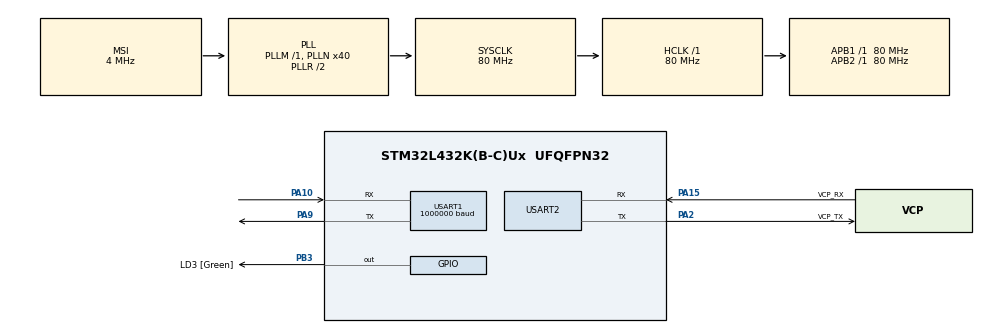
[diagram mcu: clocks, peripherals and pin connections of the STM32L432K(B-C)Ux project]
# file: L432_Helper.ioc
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Dma.Request0=USART1_RX
Dma.Request1=USART1_TX
Dma.USART1_RX.0.Direction=DMA_PERIPH_TO_MEMORY
Dma.USART1_RX.0.Instance=DMA1_Channel5
Dma.USART1_RX.0.MemDataAlignment=DMA_MDATAALIGN_BYTE
Dma.USART1_RX.0.MemInc=DMA_MINC_ENABLE
Dma.USART1_RX.0.Mode=DMA_NORMAL
Dma.USART1_RX.0.PeriphDataAlignment=DMA_PDATAALIGN_BYTE
Dma.USART1_RX.0.PeriphInc=DMA_PINC_DISABLE
Dma.USART1_RX.0.Priority=DMA_PRIORITY_LOW
Dma.USART1_TX.1.Direction=DMA_MEMORY_TO_PERIPH
Dma.USART1_TX.1.Instance=DMA1_Channel4
Dma.USART1_TX.1.MemDataAlignment=DMA_MDATAALIGN_BYTE
Dma.USART1_TX.1.MemInc=DMA_MINC_ENABLE
Dma.USART1_TX.1.Mode=DMA_NORMAL
Dma.USART1_TX.1.PeriphDataAlignment=DMA_PDATAALIGN_BYTE
Dma.USART1_TX.1.PeriphInc=DMA_PINC_DISABLE
Dma.USART1_TX.1.Priority=DMA_PRIORITY_LOW
FREERTOS.INCLUDE_vTaskDelayUntil=1
FREERTOS.MEMORY_ALLOCATION=2
FREERTOS.Queues01=toBeSentQ,1,Data_t,0,Static,toBeSentQBuffer,toBeSentQControlBlock
FREERTOS.Tasks01=defaultTask,0,128,StartDefaultTask,Default,NULL,Dynamic,NULL,NULL;RX,3,512,StartRX,As external,NULL,Static,RXBuffer,RXControlBlock;TX,2,512,StartTX,As external,NULL,Static,TXBuffer,TXControlBlock
Mcu.Family=STM32L4
Mcu.Name=STM32L432K(B-C)Ux
Mcu.Package=UFQFPN32
NVIC.DMA1_Channel4_IRQn=true\:5\:0\:false\:false\:true\:true\:false
NVIC.DMA1_Channel5_IRQn=true\:5\:0\:false\:false\:true\:true\:false
NVIC.PriorityGroup=NVIC_PRIORITYGROUP_4
NVIC.TIM1_UP_TIM16_IRQn=true\:0\:0\:false\:false\:true\:false\:false
NVIC.TimeBase=TIM1_UP_TIM16_IRQn
NVIC.TimeBaseIP=TIM1
NVIC.USART1_IRQn=true\:5\:0\:false\:false\:true\:true\:true
PA0.GPIO_Label=MCO [High speed clock in]
PA0.Mode=HSE-External-Clock-Source-for-LittleOrca
PA0.Signal=RCC_CK_IN
PA10.Mode=Asynchronous
PA10.Signal=USART1_RX
PA13\ (JTMS-SWDIO).GPIO_Label=SWDIO
PA13\ (JTMS-SWDIO).Mode=Serial_Wire
PA13\ (JTMS-SWDIO).Signal=SYS_JTMS-SWDIO
PA14\ (JTCK-SWCLK).GPIO_Label=SWCLK
PA14\ (JTCK-SWCLK).Mode=Serial_Wire
PA14\ (JTCK-SWCLK).Signal=SYS_JTCK-SWCLK
PA15\ (JTDI).GPIO_Label=VCP_RX
PA15\ (JTDI).Mode=Asynchronous
PA15\ (JTDI).Signal=USART2_RX
PA2.GPIO_Label=VCP_TX
PA2.Mode=Asynchronous
PA2.Signal=USART2_TX
PA9.Mode=Asynchronous
PA9.Signal=USART1_TX
PB3\ (JTDO-TRACESWO).GPIO_Label=LD3 [Green]
PB3\ (JTDO-TRACESWO).Signal=GPIO_Output
PC14-OSC32_IN\ (PC14).Mode=LSE-External-Oscillator
PC14-OSC32_IN\ (PC14).Signal=RCC_OSC32_IN
PC15-OSC32_OUT\ (PC15).Mode=LSE-External-Oscillator
PC15-OSC32_OUT\ (PC15).Signal=RCC_OSC32_OUT
ProjectManager.HeapSize=0x200
ProjectManager.StackSize=0x400
ProjectManager.TargetToolchain=SW4STM32
RCC.AHBFreq_Value=80000000
RCC.APB1Freq_Value=80000000
RCC.APB1TimFreq_Value=80000000
RCC.APB2Freq_Value=80000000
RCC.APB2TimFreq_Value=80000000
RCC.CortexFreq_Value=80000000
RCC.HCLKFreq_Value=80000000
RCC.HSE_VALUE=8000000
RCC.HSI16_VALUE=16000000
RCC.HSI48_VALUE=48000000
RCC.HSI_VALUE=16000000
RCC.MSI_VALUE=4000000
RCC.PLLMUL=RCC_PLLMUL_4
RCC.PLLN=40
RCC.SYSCLKFreq_VALUE=80000000
RCC.SYSCLKSource=RCC_SYSCLKSOURCE_PLLCLK
RCC.VCOOutputFreq_Value=160000000
USART1.BaudRate=1000000
USART1.DMADisableonRxErrorParam=ADVFEATURE_DMA_DISABLEONRXERROR
USART1.OverrunDisableParam=ADVFEATURE_OVERRUN_DISABLE
USART1.VirtualMode-Asynchronous=VM_ASYNC
USART2.VirtualMode-Asynchronous=VM_ASYNC
VP_FREERTOS_VS_ENABLE.Mode=Enabled
VP_SYS_VS_tim1.Mode=TIM1
board=NUCLEO-L432KC

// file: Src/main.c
/**
  ******************************************************************************
  * @file           : main.c
  * @brief          : Main program body
  ******************************************************************************
  * This notice applies to any and all portions of this file
  * that are not between comment pairs USER CODE BEGIN and
  * USER CODE END. Other portions of this file, whether
  * inserted by the user or by software development tools
  * are owned by their respective copyright owners.
  *
  * Copyright (c) 2018 STMicroelectronics International N.V.
  * All rights reserved.
  *
  * Redistribution and use in source and binary forms, with or without
  * modification, are permitted, provided that the following conditions are met:
  *
  * 1. Redistribution of source code must retain the above copyright notice,
  *    this list of conditions and the following disclaimer.
  * 2. Redistributions in binary form must reproduce the above copyright notice,
  *    this list of conditions and the following disclaimer in the documentation
  *    and/or other materials provided with the distribution.
  * 3. Neither the name of STMicroelectronics nor the names of other
  *    contributors to this software may be used to endorse or promote products
  *    derived from this software without specific written permission.
  * 4. This software, including modifications and/or derivative works of this
  *    software, must execute solely and exclusively on microcontroller or
  *    microprocessor devices manufactured by or for STMicroelectronics.
  * 5. Redistribution and use of this software other than as permitted under
  *    this license is void and will automatically terminate your rights under
  *    this license.
  *
  * THIS SOFTWARE IS PROVIDED BY STMICROELECTRONICS AND CONTRIBUTORS "AS IS"
  * AND ANY EXPRESS, IMPLIED OR STATUTORY WARRANTIES, INCLUDING, BUT NOT
  * LIMITED TO, THE IMPLIED WARRANTIES OF MERCHANTABILITY, FITNESS FOR A
  * PARTICULAR PURPOSE AND NON-INFRINGEMENT OF THIRD PARTY INTELLECTUAL PROPERTY
  * RIGHTS ARE DISCLAIMED TO THE FULLEST EXTENT PERMITTED BY LAW. IN NO EVENT
  * SHALL STMICROELECTRONICS OR CONTRIBUTORS BE LIABLE FOR ANY DIRECT, INDIRECT,
  * INCIDENTAL, SPECIAL, EXEMPLARY, OR CONSEQUENTIAL DAMAGES (INCLUDING, BUT NOT
  * LIMITED TO, PROCUREMENT OF SUBSTITUTE GOODS OR SERVICES; LOSS OF USE, DATA,
  * OR PROFITS; OR BUSINESS INTERRUPTION) HOWEVER CAUSED AND ON ANY THEORY OF
  * LIABILITY, WHETHER IN CONTRACT, STRICT LIABILITY, OR TORT (INCLUDING
  * NEGLIGENCE OR OTHERWISE) ARISING IN ANY WAY OUT OF THE USE OF THIS SOFTWARE,
  * EVEN IF ADVISED OF THE POSSIBILITY OF SUCH DAMAGE.
  *
  ******************************************************************************
  */
#include "main.h"
#include "stm32l4xx_hal.h"
#include "cmsis_os.h"
#include "dma.h"
#include "usart.h"
#include "gpio.h"

/* USER CODE BEGIN PV */
/* Private variables ---------------------------------------------------------*/

/* USER CODE END PV */

void SystemClock_Config(void);
void MX_FREERTOS_Init(void);

/* USER CODE BEGIN PFP */
/* Private function prototypes -----------------------------------------------*/

/* USER CODE END PFP */

int main(void)
{

  /* MCU Configuration----------------------------------------------------------*/

  /* Reset of all peripherals, Initializes the Flash interface and the Systick. */
  HAL_Init();

  /* Configure the system clock */
  SystemClock_Config();

  /* Initialize all configured peripherals */
  MX_GPIO_Init();
  MX_DMA_Init();
  MX_USART2_UART_Init();
  MX_USART1_UART_Init();

  /* Call init function for freertos objects (in freertos.c) */
  MX_FREERTOS_Init();

  /* Start scheduler */
  osKernelStart();

  /* We should never get here as control is now taken by the scheduler */

  /* Infinite loop */
  while (1)
  {

  }

}

void SystemClock_Config(void)
{

  RCC_OscInitTypeDef RCC_OscInitStruct;
  RCC_ClkInitTypeDef RCC_ClkInitStruct;
  RCC_PeriphCLKInitTypeDef PeriphClkInit;

    /**Configure LSE Drive Capability
    */
  HAL_PWR_EnableBkUpAccess();

  __HAL_RCC_LSEDRIVE_CONFIG(RCC_LSEDRIVE_LOW);

    /**Initializes the CPU, AHB and APB busses clocks
    */
  RCC_OscInitStruct.OscillatorType = RCC_OSCILLATORTYPE_LSE|RCC_OSCILLATORTYPE_MSI;
  RCC_OscInitStruct.LSEState = RCC_LSE_ON;
  RCC_OscInitStruct.MSIState = RCC_MSI_ON;
  RCC_OscInitStruct.MSICalibrationValue = 0;
  RCC_OscInitStruct.MSIClockRange = RCC_MSIRANGE_6;
  RCC_OscInitStruct.PLL.PLLState = RCC_PLL_ON;
  RCC_OscInitStruct.PLL.PLLSource = RCC_PLLSOURCE_MSI;
  RCC_OscInitStruct.PLL.PLLM = 1;
  RCC_OscInitStruct.PLL.PLLN = 40;
  RCC_OscInitStruct.PLL.PLLP = RCC_PLLP_DIV7;
  RCC_OscInitStruct.PLL.PLLQ = RCC_PLLQ_DIV2;
  RCC_OscInitStruct.PLL.PLLR = RCC_PLLR_DIV2;
  if (HAL_RCC_OscConfig(&RCC_OscInitStruct) != HAL_OK)
  {
    _Error_Handler(__FILE__, __LINE__);
  }

    /**Initializes the CPU, AHB and APB busses clocks
    */
  RCC_ClkInitStruct.ClockType = RCC_CLOCKTYPE_HCLK|RCC_CLOCKTYPE_SYSCLK
                              |RCC_CLOCKTYPE_PCLK1|RCC_CLOCKTYPE_PCLK2;
  RCC_ClkInitStruct.SYSCLKSource = RCC_SYSCLKSOURCE_PLLCLK;
  RCC_ClkInitStruct.AHBCLKDivider = RCC_SYSCLK_DIV1;
  RCC_ClkInitStruct.APB1CLKDivider = RCC_HCLK_DIV1;
  RCC_ClkInitStruct.APB2CLKDivider = RCC_HCLK_DIV1;

  if (HAL_RCC_ClockConfig(&RCC_ClkInitStruct, FLASH_LATENCY_4) != HAL_OK)
  {
    _Error_Handler(__FILE__, __LINE__);
  }

  PeriphClkInit.PeriphClockSelection = RCC_PERIPHCLK_USART1|RCC_PERIPHCLK_USART2;
  PeriphClkInit.Usart1ClockSelection = RCC_USART1CLKSOURCE_PCLK2;
  PeriphClkInit.Usart2ClockSelection = RCC_USART2CLKSOURCE_PCLK1;
  if (HAL_RCCEx_PeriphCLKConfig(&PeriphClkInit) != HAL_OK)
  {
    _Error_Handler(__FILE__, __LINE__);
  }

    /**Configure the main internal regulator output voltage
    */
  if (HAL_PWREx_ControlVoltageScaling(PWR_REGULATOR_VOLTAGE_SCALE1) != HAL_OK)
  {
    _Error_Handler(__FILE__, __LINE__);
  }

    /**Configure the Systick interrupt time
    */
  HAL_SYSTICK_Config(HAL_RCC_GetHCLKFreq()/1000);

    /**Configure the Systick
    */
  HAL_SYSTICK_CLKSourceConfig(SYSTICK_CLKSOURCE_HCLK);

    /**Enable MSI Auto calibration
    */
  HAL_RCCEx_EnableMSIPLLMode();

  /* SysTick_IRQn interrupt configuration */
  HAL_NVIC_SetPriority(SysTick_IRQn, 15, 0);
}

void HAL_TIM_PeriodElapsedCallback(TIM_HandleTypeDef *htim)
{
  if (htim->Instance == TIM1) {
    HAL_IncTick();
  }
}

void _Error_Handler(char *file, int line)
{
  while(1)
  {
  }
}

/************************ (C) COPYRIGHT STMicroelectronics *****END OF FILE****/

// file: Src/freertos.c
/**
  ******************************************************************************
  * File Name          : freertos.c
  * Description        : Code for freertos applications
  ******************************************************************************
  * This notice applies to any and all portions of this file
  * that are not between comment pairs USER CODE BEGIN and
  * USER CODE END. Other portions of this file, whether
  * inserted by the user or by software development tools
  * are owned by their respective copyright owners.
  *
  * Copyright (c) 2018 STMicroelectronics International N.V.
  * All rights reserved.
  *
  * Redistribution and use in source and binary forms, with or without
  * modification, are permitted, provided that the following conditions are met:
  *
  * 1. Redistribution of source code must retain the above copyright notice,
  *    this list of conditions and the following disclaimer.
  * 2. Redistributions in binary form must reproduce the above copyright notice,
  *    this list of conditions and the following disclaimer in the documentation
  *    and/or other materials provided with the distribution.
  * 3. Neither the name of STMicroelectronics nor the names of other
  *    contributors to this software may be used to endorse or promote products
  *    derived from this software without specific written permission.
  * 4. This software, including modifications and/or derivative works of this
  *    software, must execute solely and exclusively on microcontroller or
  *    microprocessor devices manufactured by or for STMicroelectronics.
  * 5. Redistribution and use of this software other than as permitted under
  *    this license is void and will automatically terminate your rights under
  *    this license.
  *
  * THIS SOFTWARE IS PROVIDED BY STMICROELECTRONICS AND CONTRIBUTORS "AS IS"
  * AND ANY EXPRESS, IMPLIED OR STATUTORY WARRANTIES, INCLUDING, BUT NOT
  * LIMITED TO, THE IMPLIED WARRANTIES OF MERCHANTABILITY, FITNESS FOR A
  * PARTICULAR PURPOSE AND NON-INFRINGEMENT OF THIRD PARTY INTELLECTUAL PROPERTY
  * RIGHTS ARE DISCLAIMED TO THE FULLEST EXTENT PERMITTED BY LAW. IN NO EVENT
  * SHALL STMICROELECTRONICS OR CONTRIBUTORS BE LIABLE FOR ANY DIRECT, INDIRECT,
  * INCIDENTAL, SPECIAL, EXEMPLARY, OR CONSEQUENTIAL DAMAGES (INCLUDING, BUT NOT
  * LIMITED TO, PROCUREMENT OF SUBSTITUTE GOODS OR SERVICES; LOSS OF USE, DATA,
  * OR PROFITS; OR BUSINESS INTERRUPTION) HOWEVER CAUSED AND ON ANY THEORY OF
  * LIABILITY, WHETHER IN CONTRACT, STRICT LIABILITY, OR TORT (INCLUDING
  * NEGLIGENCE OR OTHERWISE) ARISING IN ANY WAY OUT OF THE USE OF THIS SOFTWARE,
  * EVEN IF ADVISED OF THE POSSIBILITY OF SUCH DAMAGE.
  *
  ******************************************************************************
  */

#include "FreeRTOS.h"
#include "task.h"
#include "cmsis_os.h"

/* USER CODE BEGIN Includes */
#include <stdbool.h>
#include "usart.h"

#include "types.h"
#include "lfsr.h"
#include "helpers.h"
#include "tx_helpers.h"
#include "rx_helpers.h"
/* USER CODE END Includes */

osThreadId defaultTaskHandle;
osThreadId RXHandle;
uint32_t RXBuffer[ 512 ];
osStaticThreadDef_t RXControlBlock;
osThreadId TXHandle;
uint32_t TXBuffer[ 512 ];
osStaticThreadDef_t TXControlBlock;
osMessageQId toBeSentQHandle;
uint8_t toBeSentQBuffer[ 1 * sizeof( Data_t ) ];
osStaticMessageQDef_t toBeSentQControlBlock;

void StartDefaultTask(void const * argument);
extern void StartRX(void const * argument);
extern void StartTX(void const * argument);

void MX_FREERTOS_Init(void); /* (MISRA C 2004 rule 8.1) */

/* GetIdleTaskMemory prototype (linked to static allocation support) */
void vApplicationGetIdleTaskMemory( StaticTask_t **ppxIdleTaskTCBBuffer, StackType_t **ppxIdleTaskStackBuffer, uint32_t *pulIdleTaskStackSize );

/* Hook prototypes */

/* USER CODE BEGIN GET_IDLE_TASK_MEMORY */
static StaticTask_t xIdleTaskTCBBuffer;
static StackType_t xIdleStack[configMINIMAL_STACK_SIZE];

void vApplicationGetIdleTaskMemory( StaticTask_t **ppxIdleTaskTCBBuffer, StackType_t **ppxIdleTaskStackBuffer, uint32_t *pulIdleTaskStackSize )
{
  *ppxIdleTaskTCBBuffer = &xIdleTaskTCBBuffer;
  *ppxIdleTaskStackBuffer = &xIdleStack[0];
  *pulIdleTaskStackSize = configMINIMAL_STACK_SIZE;
  /* place for user code */
}
/* USER CODE END GET_IDLE_TASK_MEMORY */

/* Init FreeRTOS */

void MX_FREERTOS_Init(void) {

  /* Create the thread(s) */
  /* definition and creation of defaultTask */
  osThreadDef(defaultTask, StartDefaultTask, osPriorityNormal, 0, 128);
  defaultTaskHandle = osThreadCreate(osThread(defaultTask), NULL);

  /* definition and creation of RX */
  osThreadStaticDef(RX, StartRX, osPriorityRealtime, 0, 512, RXBuffer, &RXControlBlock);
  RXHandle = osThreadCreate(osThread(RX), NULL);

  /* definition and creation of TX */
  osThreadStaticDef(TX, StartTX, osPriorityHigh, 0, 512, TXBuffer, &TXControlBlock);
  TXHandle = osThreadCreate(osThread(TX), NULL);

  /* Create the queue(s) */
  /* definition and creation of toBeSentQ */
  osMessageQStaticDef(toBeSentQ, 1, Data_t, toBeSentQBuffer, &toBeSentQControlBlock);
  toBeSentQHandle = osMessageCreate(osMessageQ(toBeSentQ), NULL);

}

/* StartDefaultTask function */
void StartDefaultTask(void const * argument)
{

  for(;;)
  {
    osDelay(1);
  }
}

/* USER CODE BEGIN Application */

void StartRX(void const * argument){
    bool statusIsOkay;

    for(;;){
        statusIsOkay = receive();

        if(statusIsOkay){
            processData();
        }
    }
}

void StartTX(void const * argument){
    Data_t data;

    for(;;){
        while(xQueueReceive(toBeSentQHandle, &data, portMAX_DELAY) != pdTRUE);

        update_buffer_contents(&data);

        transmit_buffer_contents();
    }
}

/* USER CODE END Application */

/************************ (C) COPYRIGHT STMicroelectronics *****END OF FILE****/
